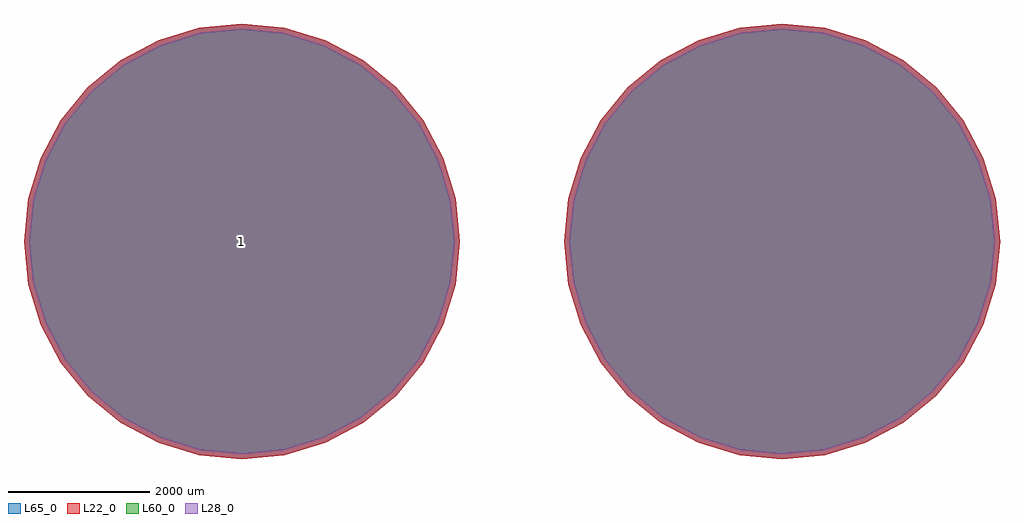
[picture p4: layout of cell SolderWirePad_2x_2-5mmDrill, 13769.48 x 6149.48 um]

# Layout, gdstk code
import gdstk
lib = gdstk.Library(unit=1e-6, precision=1e-09)
def P(c, l, *ps):  # polygons
    for p in ps: c.add(gdstk.Polygon(p, *l))
L22_0 = (22, 0)
L28_0 = (28, 0)
L60_0 = (60, 0)
L65_0 = (65, 0)

solderwirepad_2x_2_5mmdr = lib.new_cell('SolderWirePad_2x_2-5mmDrill')
P(solderwirepad_2x_2_5mmdr, L22_0, [(6884.74,0),(6825.66,599.852),(6650.689,1176.652),(6366.553,1708.234),(5984.17,2174.17),(5518.234,2556.553),(4986.652,2840.689),(4409.852,3015.66),(3810,3074.74),(3210.148,3015.66),(2633.348,2840.689),(2101.766,2556.553),(1635.83,2174.17),(1253.447,1708.234),(969.311,1176.652),(794.34,599.852),(735.26,0),(794.34,-599.852),(969.311,-1176.652),(1253.447,-1708.234),(1635.83,-2174.17),(2101.766,-2556.553),(2633.348,-2840.689),(3210.148,-3015.66),(3810,-3074.74),(4409.852,-3015.66),(4986.652,-2840.689),(5518.234,-2556.553),(5984.17,-2174.17),(6366.553,-1708.234),(6650.689,-1176.652),(6825.66,-599.852)],
  [(-735.26,0),(-794.34,599.852),(-969.311,1176.652),(-1253.447,1708.234),(-1635.83,2174.17),(-2101.766,2556.553),(-2633.348,2840.689),(-3210.148,3015.66),(-3810,3074.74),(-4409.852,3015.66),(-4986.652,2840.689),(-5518.234,2556.553),(-5984.17,2174.17),(-6366.553,1708.234),(-6650.689,1176.652),(-6825.66,599.852),(-6884.74,0),(-6825.66,-599.852),(-6650.689,-1176.652),(-6366.553,-1708.234),(-5984.17,-2174.17),(-5518.234,-2556.553),(-4986.652,-2840.689),(-4409.852,-3015.66),(-3810,-3074.74),(-3210.148,-3015.66),(-2633.348,-2840.689),(-2101.766,-2556.553),(-1635.83,-2174.17),(-1253.447,-1708.234),(-969.311,-1176.652),(-794.34,-599.852)])
P(solderwirepad_2x_2_5mmdr, L28_0, [(6809.74,0),(6752.101,585.22),(6581.398,1147.951),(6304.193,1666.566),(5931.136,2121.136),(5476.566,2494.193),(4957.951,2771.398),(4395.22,2942.101),(3810,2999.74),(3224.78,2942.101),(2662.049,2771.398),(2143.434,2494.193),(1688.864,2121.136),(1315.807,1666.566),(1038.602,1147.951),(867.899,585.22),(810.26,0),(867.899,-585.22),(1038.602,-1147.951),(1315.807,-1666.566),(1688.864,-2121.136),(2143.434,-2494.193),(2662.049,-2771.398),(3224.78,-2942.101),(3810,-2999.74),(4395.22,-2942.101),(4957.951,-2771.398),(5476.566,-2494.193),(5931.136,-2121.136),(6304.193,-1666.566),(6581.398,-1147.951),(6752.101,-585.22)],
  [(-810.26,0),(-867.899,585.22),(-1038.602,1147.951),(-1315.807,1666.566),(-1688.864,2121.136),(-2143.434,2494.193),(-2662.049,2771.398),(-3224.78,2942.101),(-3810,2999.74),(-4395.22,2942.101),(-4957.951,2771.398),(-5476.566,2494.193),(-5931.136,2121.136),(-6304.193,1666.566),(-6581.398,1147.951),(-6752.101,585.22),(-6809.74,0),(-6752.101,-585.22),(-6581.398,-1147.951),(-6304.193,-1666.566),(-5931.136,-2121.136),(-5476.566,-2494.193),(-4957.951,-2771.398),(-4395.22,-2942.101),(-3810,-2999.74),(-3224.78,-2942.101),(-2662.049,-2771.398),(-2143.434,-2494.193),(-1688.864,-2121.136),(-1315.807,-1666.566),(-1038.602,-1147.951),(-867.899,-585.22)])
P(solderwirepad_2x_2_5mmdr, L60_0, [(6809.74,0),(6752.101,585.22),(6581.398,1147.951),(6304.193,1666.566),(5931.136,2121.136),(5476.566,2494.193),(4957.951,2771.398),(4395.22,2942.101),(3810,2999.74),(3224.78,2942.101),(2662.049,2771.398),(2143.434,2494.193),(1688.864,2121.136),(1315.807,1666.566),(1038.602,1147.951),(867.899,585.22),(810.26,0),(867.899,-585.22),(1038.602,-1147.951),(1315.807,-1666.566),(1688.864,-2121.136),(2143.434,-2494.193),(2662.049,-2771.398),(3224.78,-2942.101),(3810,-2999.74),(4395.22,-2942.101),(4957.951,-2771.398),(5476.566,-2494.193),(5931.136,-2121.136),(6304.193,-1666.566),(6581.398,-1147.951),(6752.101,-585.22)],
  [(-810.26,0),(-867.899,585.22),(-1038.602,1147.951),(-1315.807,1666.566),(-1688.864,2121.136),(-2143.434,2494.193),(-2662.049,2771.398),(-3224.78,2942.101),(-3810,2999.74),(-4395.22,2942.101),(-4957.951,2771.398),(-5476.566,2494.193),(-5931.136,2121.136),(-6304.193,1666.566),(-6581.398,1147.951),(-6752.101,585.22),(-6809.74,0),(-6752.101,-585.22),(-6581.398,-1147.951),(-6304.193,-1666.566),(-5931.136,-2121.136),(-5476.566,-2494.193),(-4957.951,-2771.398),(-4395.22,-2942.101),(-3810,-2999.74),(-3224.78,-2942.101),(-2662.049,-2771.398),(-2143.434,-2494.193),(-1688.864,-2121.136),(-1315.807,-1666.566),(-1038.602,-1147.951),(-867.899,-585.22)])
P(solderwirepad_2x_2_5mmdr, L65_0, [(6884.74,0),(6825.66,599.852),(6650.689,1176.652),(6366.553,1708.234),(5984.17,2174.17),(5518.234,2556.553),(4986.652,2840.689),(4409.852,3015.66),(3810,3074.74),(3210.148,3015.66),(2633.348,2840.689),(2101.766,2556.553),(1635.83,2174.17),(1253.447,1708.234),(969.311,1176.652),(794.34,599.852),(735.26,0),(794.34,-599.852),(969.311,-1176.652),(1253.447,-1708.234),(1635.83,-2174.17),(2101.766,-2556.553),(2633.348,-2840.689),(3210.148,-3015.66),(3810,-3074.74),(4409.852,-3015.66),(4986.652,-2840.689),(5518.234,-2556.553),(5984.17,-2174.17),(6366.553,-1708.234),(6650.689,-1176.652),(6825.66,-599.852)],
  [(-735.26,0),(-794.34,599.852),(-969.311,1176.652),(-1253.447,1708.234),(-1635.83,2174.17),(-2101.766,2556.553),(-2633.348,2840.689),(-3210.148,3015.66),(-3810,3074.74),(-4409.852,3015.66),(-4986.652,2840.689),(-5518.234,2556.553),(-5984.17,2174.17),(-6366.553,1708.234),(-6650.689,1176.652),(-6825.66,599.852),(-6884.74,0),(-6825.66,-599.852),(-6650.689,-1176.652),(-6366.553,-1708.234),(-5984.17,-2174.17),(-5518.234,-2556.553),(-4986.652,-2840.689),(-4409.852,-3015.66),(-3810,-3074.74),(-3210.148,-3015.66),(-2633.348,-2840.689),(-2101.766,-2556.553),(-1635.83,-2174.17),(-1253.447,-1708.234),(-969.311,-1176.652),(-794.34,-599.852)])
solderwirepad_2x_2_5mmdr.add(gdstk.Label('1', (-3810,0), layer=28, texttype=0))
solderwirepad_2x_2_5mmdr.add(gdstk.Label('type', (-1270,-4445), layer=9, texttype=0))
solderwirepad_2x_2_5mmdr.add(gdstk.Label('devicename', (0,5080), layer=9, texttype=0))

lib.write_gds('SolderWirePad_2x_2-5mmDrill.gds')
